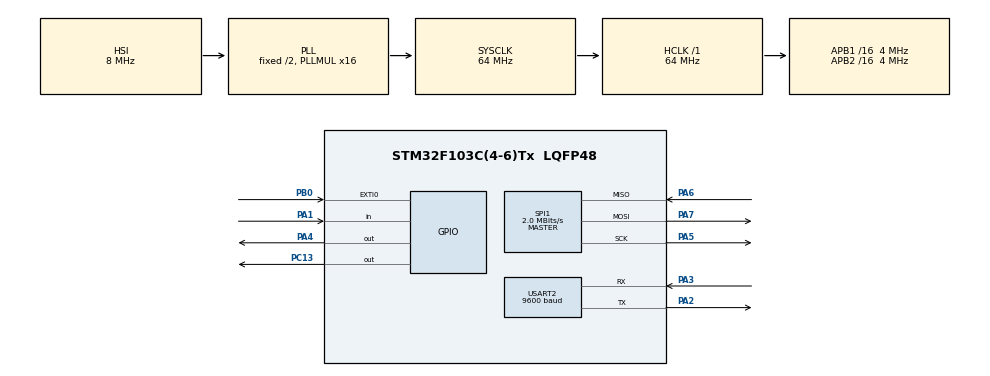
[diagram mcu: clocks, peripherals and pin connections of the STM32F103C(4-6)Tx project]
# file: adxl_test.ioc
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Mcu.Family=STM32F1
Mcu.Name=STM32F103C(4-6)Tx
Mcu.Package=LQFP48
NVIC.EXTI0_IRQn=true\:0\:0\:false\:false\:true\:true\:true
NVIC.PriorityGroup=NVIC_PRIORITYGROUP_4
NVIC.SPI1_IRQn=true\:0\:0\:false\:false\:true\:true\:true
NVIC.USART2_IRQn=true\:0\:0\:false\:false\:true\:true\:true
PA1.GPIO_PuPd=GPIO_PULLDOWN
PA1.Signal=GPIO_Input
PA13.Mode=Serial_Wire
PA13.Signal=SYS_JTMS-SWDIO
PA14.Mode=Serial_Wire
PA14.Signal=SYS_JTCK-SWCLK
PA2.Mode=Asynchronous
PA2.Signal=USART2_TX
PA3.Mode=Asynchronous
PA3.Signal=USART2_RX
PA4.PinState=GPIO_PIN_SET
PA4.Signal=GPIO_Output
PA5.Mode=Full_Duplex_Master
PA5.Signal=SPI1_SCK
PA6.Mode=Full_Duplex_Master
PA6.Signal=SPI1_MISO
PA7.Mode=Full_Duplex_Master
PA7.Signal=SPI1_MOSI
PB0.GPIO_ModeDefaultEXTI=GPIO_MODE_IT_RISING
PB0.Signal=GPXTI0
PC13-TAMPER-RTC.PinState=GPIO_PIN_SET
PC13-TAMPER-RTC.Signal=GPIO_Output
ProjectManager.HeapSize=0x200
ProjectManager.StackSize=0x400
ProjectManager.TargetToolchain=STM32CubeIDE
RCC.AHBFreq_Value=64000000
RCC.APB1CLKDivider=RCC_HCLK_DIV16
RCC.APB1Freq_Value=4000000
RCC.APB1TimFreq_Value=8000000
RCC.APB2CLKDivider=RCC_HCLK_DIV16
RCC.APB2Freq_Value=4000000
RCC.APB2TimFreq_Value=8000000
RCC.HCLKFreq_Value=64000000
RCC.PLLMUL=RCC_PLL_MUL16
RCC.SYSCLKFreq_VALUE=64000000
RCC.SYSCLKSource=RCC_SYSCLKSOURCE_PLLCLK
RCC.USBFreq_Value=64000000
SPI1.BaudRatePrescaler=SPI_BAUDRATEPRESCALER_2
SPI1.CLKPhase=SPI_PHASE_2EDGE
SPI1.CLKPolarity=SPI_POLARITY_HIGH
SPI1.CalculateBaudRate=2.0 MBits/s
SPI1.Direction=SPI_DIRECTION_2LINES
SPI1.Mode=SPI_MODE_MASTER
SPI1.VirtualType=VM_MASTER
USART2.BaudRate=9600
USART2.VirtualMode=VM_ASYNC
board=custom

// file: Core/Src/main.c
/* USER CODE BEGIN Header */
/**
  ******************************************************************************
  * @file           : main.c
  * @brief          : Main program body
  ******************************************************************************
  * @attention
  *
  * <h2><center>&copy; Copyright (c) 2022 STMicroelectronics.
  * All rights reserved.</center></h2>
  *
  * This software component is licensed by ST under BSD 3-Clause license,
  * the "License"; You may not use this file except in compliance with the
  * License. You may obtain a copy of the License at:
  *                        opensource.org/licenses/BSD-3-Clause
  *
  ******************************************************************************
  */
/* USER CODE END Header */
#include "main.h"
#include <stdio.h>
#include <stdlib.h>
/* USER CODE BEGIN Includes */
#include "adxl.h"
#include "stdio.h"
#include "string.h"

/* USER CODE END Includes */

/* USER CODE BEGIN PM */
#define ADXL_CS_PORT		GPIOA
#define ADXL_CS_PIN			GPIO_PIN_4
#define BANNER "\r\nAG pointer\r\n"

/* USER CODE END PM */

SPI_HandleTypeDef hspi1;

UART_HandleTypeDef huart2;

/* USER CODE BEGIN PV */

uint8_t uart_data[128];
short adxl_saved_values[3];
short adxl_curr_values[3];
short adxl_diff_values[3];
short adxl_calib_values[3];
extern short calib_value[3];
uint8_t init_pending;
/* USER CODE END PV */

void SystemClock_Config(void);
static void MX_GPIO_Init(void);
static void MX_SPI1_Init(void);
static void MX_USART2_UART_Init(void);

int main(void)
{
  /* USER CODE BEGIN 1 */
  uint8_t entries;
  uint8_t len;

  /* USER CODE END 1 */

  /* MCU Configuration--------------------------------------------------------*/

  /* Reset of all peripherals, Initializes the Flash interface and the Systick. */
  HAL_Init();

  /* Configure the system clock */
  SystemClock_Config();

  /* Initialize all configured peripherals */
  MX_GPIO_Init();
  MX_SPI1_Init();
  MX_USART2_UART_Init();
  HAL_UART_Transmit(&huart2, (uint8_t *)BANNER, strlen(BANNER), 100);
  /* USER CODE BEGIN 2 */
  adxl345_init();

  HAL_Delay(100);
  adxl_calibrate();
  adxl_start();
  /* USER CODE END 2 */

  /* Infinite loop */
  /* USER CODE BEGIN WHILE */
  while (1)
#if 0
  {
		HAL_GPIO_TogglePin(GPIOC, GPIO_PIN_13);
		HAL_Delay(100);
  }
#endif
  {
    /* USER CODE END WHILE */

    /* USER CODE BEGIN 3 */
#if 1
	  entries = poll_adxl_event();
	if (entries)
	{
		if (!entries)
			entries++;
		adxl_get_accl_val(adxl_xyzval, entries);
		adxl_curr_values[0] = ((short)(adxl_xyzval[0] + adxl_xyzval[1] * 256) - calib_value[0]);
		adxl_curr_values[1] = ((short)(adxl_xyzval[2] + adxl_xyzval[3] * 256) - calib_value[1]);
		adxl_curr_values[2] = ((short)(adxl_xyzval[4] + adxl_xyzval[5] * 256) - calib_value[2]);
		if (!init_pending)
		{
			init_pending = 1;
			adxl_saved_values[0] = adxl_curr_values[0];
			adxl_saved_values[1] = adxl_curr_values[1];
			adxl_saved_values[2] = adxl_curr_values[2];
		} else {
			int diffx, diffy,diffz;

			diffx = (adxl_curr_values[0] - adxl_saved_values[0]);
			diffy = (adxl_curr_values[1] - adxl_saved_values[1]);
			diffz = (adxl_curr_values[2] - adxl_saved_values[2]);
			adxl_diff_values[0] = diffx;
			adxl_diff_values[1] = diffy;
			if (abs(diffx) < 10)
				diffx = 0;
			if (abs(diffy) < 10)
				diffy = 0;
			if (abs(diffz) < 10)
							diffz = 0;
			//compare and report
			if ((diffx != 0) || (diffy != 0) || (diffz != 0))
			{
				len = sprintf ((char *)uart_data, "x:%d,y:%d,z:%d\r\n",
					//diffy, diffx, diffz);
						adxl_curr_values[0], adxl_curr_values[1], adxl_curr_values[2]);
				HAL_UART_Transmit(&huart2, uart_data, len, 100);
				adxl_saved_values[0] = adxl_curr_values[0];
				adxl_saved_values[1] = adxl_curr_values[1];
				adxl_saved_values[2] = adxl_curr_values[2];
			}
			HAL_GPIO_TogglePin(GPIOC, GPIO_PIN_13);
			HAL_Delay(20);
		}
	}
#else
	adxl_curr_values[0] = 10;
	adxl_curr_values[1] = 10;
	adxl_curr_values[2] = 10;
	HAL_GPIO_TogglePin(GPIOC, GPIO_PIN_13);
	len = sprintf ((char *)uart_data, "x:%d,y:%d,z:%d\r\n",
			adxl_curr_values[0], adxl_curr_values[1], adxl_curr_values[2]);
	HAL_UART_Transmit(&huart2, uart_data, len, 100);
	HAL_Delay(500);
#endif
  }
  /* USER CODE END 3 */
}

void SystemClock_Config(void)
{
  RCC_OscInitTypeDef RCC_OscInitStruct = {0};
  RCC_ClkInitTypeDef RCC_ClkInitStruct = {0};

  /** Initializes the RCC Oscillators according to the specified parameters
  * in the RCC_OscInitTypeDef structure.
  */
  RCC_OscInitStruct.OscillatorType = RCC_OSCILLATORTYPE_HSI;
  RCC_OscInitStruct.HSIState = RCC_HSI_ON;
  RCC_OscInitStruct.HSICalibrationValue = RCC_HSICALIBRATION_DEFAULT;
  RCC_OscInitStruct.PLL.PLLState = RCC_PLL_ON;
  RCC_OscInitStruct.PLL.PLLSource = RCC_PLLSOURCE_HSI_DIV2;
  RCC_OscInitStruct.PLL.PLLMUL = RCC_PLL_MUL16;
  if (HAL_RCC_OscConfig(&RCC_OscInitStruct) != HAL_OK)
  {
    Error_Handler();
  }
  /** Initializes the CPU, AHB and APB buses clocks
  */
  RCC_ClkInitStruct.ClockType = RCC_CLOCKTYPE_HCLK|RCC_CLOCKTYPE_SYSCLK
                              |RCC_CLOCKTYPE_PCLK1|RCC_CLOCKTYPE_PCLK2;
  RCC_ClkInitStruct.SYSCLKSource = RCC_SYSCLKSOURCE_PLLCLK;
  RCC_ClkInitStruct.AHBCLKDivider = RCC_SYSCLK_DIV1;
  RCC_ClkInitStruct.APB1CLKDivider = RCC_HCLK_DIV16;
  RCC_ClkInitStruct.APB2CLKDivider = RCC_HCLK_DIV16;

  if (HAL_RCC_ClockConfig(&RCC_ClkInitStruct, FLASH_LATENCY_2) != HAL_OK)
  {
    Error_Handler();
  }
}

static void MX_SPI1_Init(void)
{

  /* SPI1 parameter configuration*/
  hspi1.Instance = SPI1;
  hspi1.Init.Mode = SPI_MODE_MASTER;
  hspi1.Init.Direction = SPI_DIRECTION_2LINES;
  hspi1.Init.DataSize = SPI_DATASIZE_8BIT;
  hspi1.Init.CLKPolarity = SPI_POLARITY_HIGH;
  hspi1.Init.CLKPhase = SPI_PHASE_2EDGE;
  hspi1.Init.NSS = SPI_NSS_SOFT;
  hspi1.Init.BaudRatePrescaler = SPI_BAUDRATEPRESCALER_2;
  hspi1.Init.FirstBit = SPI_FIRSTBIT_MSB;
  hspi1.Init.TIMode = SPI_TIMODE_DISABLE;
  hspi1.Init.CRCCalculation = SPI_CRCCALCULATION_DISABLE;
  hspi1.Init.CRCPolynomial = 10;
  if (HAL_SPI_Init(&hspi1) != HAL_OK)
  {
    Error_Handler();
  }

}

static void MX_USART2_UART_Init(void)
{

  huart2.Instance = USART2;
  huart2.Init.BaudRate = 9600;
  huart2.Init.WordLength = UART_WORDLENGTH_8B;
  huart2.Init.StopBits = UART_STOPBITS_1;
  huart2.Init.Parity = UART_PARITY_NONE;
  huart2.Init.Mode = UART_MODE_TX_RX;
  huart2.Init.HwFlowCtl = UART_HWCONTROL_NONE;
  huart2.Init.OverSampling = UART_OVERSAMPLING_16;
  if (HAL_UART_Init(&huart2) != HAL_OK)
  {
    Error_Handler();
  }

}

static void MX_GPIO_Init(void)
{
  GPIO_InitTypeDef GPIO_InitStruct = {0};

  /* GPIO Ports Clock Enable */
  __HAL_RCC_GPIOC_CLK_ENABLE();
  __HAL_RCC_GPIOA_CLK_ENABLE();
  __HAL_RCC_GPIOB_CLK_ENABLE();

  /*Configure GPIO pin Output Level */
  HAL_GPIO_WritePin(GPIOC, GPIO_PIN_13, GPIO_PIN_SET);

  /*Configure GPIO pin Output Level */
  HAL_GPIO_WritePin(GPIOA, GPIO_PIN_4, GPIO_PIN_SET);

  /*Configure GPIO pin : PC13 */
  GPIO_InitStruct.Pin = GPIO_PIN_13;
  GPIO_InitStruct.Mode = GPIO_MODE_OUTPUT_PP;
  GPIO_InitStruct.Pull = GPIO_NOPULL;
  GPIO_InitStruct.Speed = GPIO_SPEED_FREQ_LOW;
  HAL_GPIO_Init(GPIOC, &GPIO_InitStruct);

  /*Configure GPIO pin : PA1 */
  GPIO_InitStruct.Pin = GPIO_PIN_1;
  GPIO_InitStruct.Mode = GPIO_MODE_INPUT;
  GPIO_InitStruct.Pull = GPIO_PULLDOWN;
  HAL_GPIO_Init(GPIOA, &GPIO_InitStruct);

  /*Configure GPIO pin : PA4 */
  GPIO_InitStruct.Pin = GPIO_PIN_4;
  GPIO_InitStruct.Mode = GPIO_MODE_OUTPUT_PP;
  GPIO_InitStruct.Pull = GPIO_NOPULL;
  GPIO_InitStruct.Speed = GPIO_SPEED_FREQ_LOW;
  HAL_GPIO_Init(GPIOA, &GPIO_InitStruct);

  /*Configure GPIO pin : PB0 */
  GPIO_InitStruct.Pin = GPIO_PIN_0;
  GPIO_InitStruct.Mode = GPIO_MODE_IT_RISING;
  GPIO_InitStruct.Pull = GPIO_NOPULL;
  HAL_GPIO_Init(GPIOB, &GPIO_InitStruct);

  /* EXTI interrupt init*/
  HAL_NVIC_SetPriority(EXTI0_IRQn, 0, 0);
  HAL_NVIC_EnableIRQ(EXTI0_IRQn);

}

void Error_Handler(void)
{
  __disable_irq();
  while (1)
  {
  }
}

/************************ (C) COPYRIGHT STMicroelectronics *****END OF FILE****/
